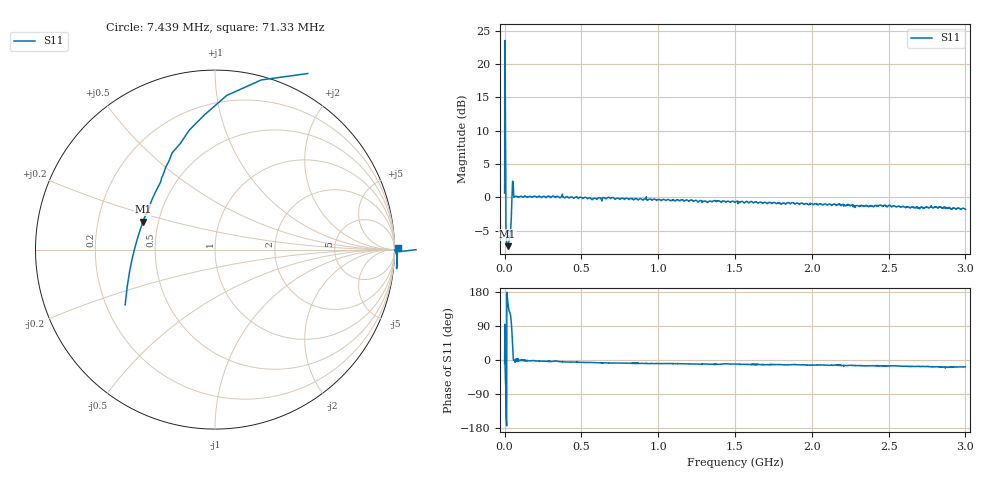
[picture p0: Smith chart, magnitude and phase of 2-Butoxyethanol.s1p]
# HZ S RI R 50
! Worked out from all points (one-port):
!   2020 points, 10 kHz to 3 GHz, reference 50 ohm
!   lowest |S11| = -7.3 dB at 19.33 MHz (marker M1), VSWR 2.51, Z = 20.5 + j7.87 ohm
!   |S11| at or under -10 dB: nowhere
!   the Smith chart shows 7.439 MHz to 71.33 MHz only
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10000  1.064 -0.1654
7439395  0.5641 -1.632
1.635467e7  -0.4311 0.0649
1.784055e7  -0.4159 0.1131
1.932643e7  -0.4009 0.1564
2.081231e7  -0.386 0.1959
2.229818e7  -0.3663 0.2286
2.378406e7  -0.3567 0.2657
3.269934e7  -0.2971 0.4002
3.56711e7  -0.2835 0.4322
3.864285e7  -0.2575 0.4913
4.607225e7  0.0655 0.8589
5.795928e7  1.12 -0.00063
6.241692e7  1.006 -0.0105
6.687456e7  1.014 -0.0219
6.984631e7  1.018 0.00317
7.727571e7  1.018 0.0361
2.882705e8  1.018 -0.0559
3.328469e8  1.002 -0.0473
3.759374e8  1.055 -0.0676
7.503789e8  0.9574 -0.1352
1.126306e9  0.9497 -0.1511
1.500748e9  0.8984 -0.1716
1.875189e9  0.8923 -0.1923
2.251117e9  0.8379 -0.2116
2.625558e9  0.8122 -0.2416
2.881129e9  0.7792 -0.2774
3e9  0.7724 -0.2503
